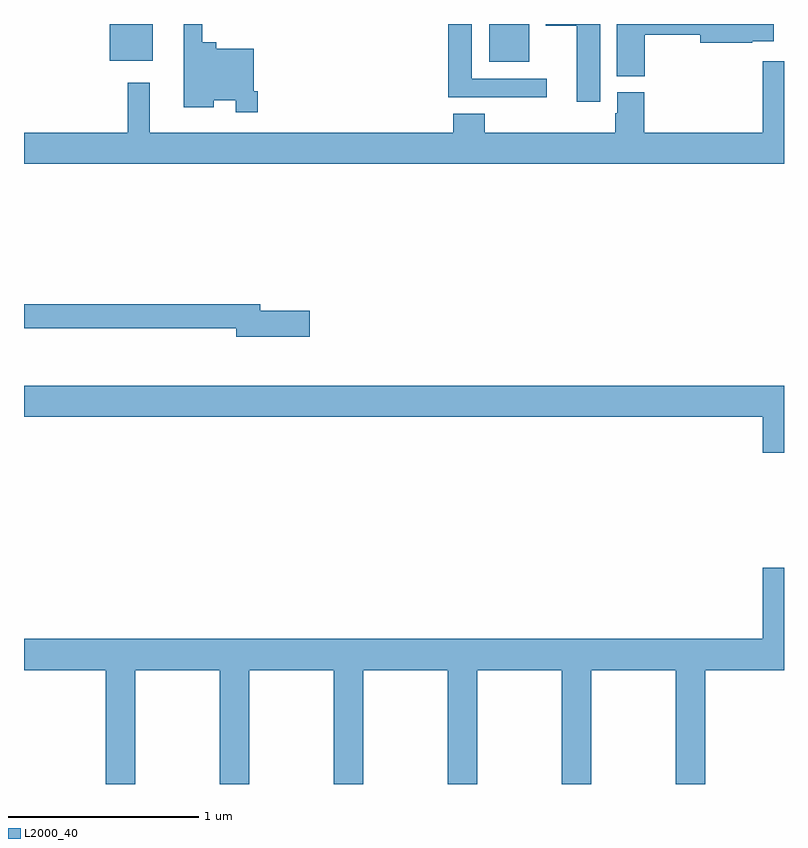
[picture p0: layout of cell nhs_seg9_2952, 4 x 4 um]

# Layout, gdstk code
import gdstk
lib = gdstk.Library(unit=1e-6, precision=1e-09)
def R(c, l, rs):  # rectangles x0, y0, x1, y1
    for r in rs: c.add(gdstk.rectangle(r[:2], r[2:], *l))
def P(c, l, *ps):  # polygons
    for p in ps: c.add(gdstk.Polygon(p, *l))
L2000_40 = (2000, 40)

nhs_seg9_2952 = lib.new_cell('nhs_seg9_2952')
R(nhs_seg9_2952, L2000_40, [(283.448,1186.301,283.66,1186.5), (281.45,1186.307,281.677,1186.5)])
P(nhs_seg9_2952, L2000_40, [(283.75,1186.212),(283.357,1186.212),(283.357,1186.5),(283.232,1186.5),(283.232,1186.115),(283.75,1186.115)],
  [(284.032,1186.5),(283.745,1186.5),(283.745,1186.49),(283.91,1186.49),(283.91,1186.092),(284.032,1186.092)],
  [(284.267,1186.444),(284.558,1186.444),(284.558,1186.402),(284.834,1186.402),(284.834,1186.409),(284.947,1186.409),(284.947,1186.5),(284.12,1186.5),(284.12,1186.225),(284.267,1186.225)],
  [(282.23,1186.147),(282.21,1186.147),(282.21,1186.369),(282.011,1186.369),(282.011,1186.405),(281.937,1186.405),(281.937,1186.5),(281.84,1186.5),(281.84,1186.061),(281.998,1186.061),(281.998,1186.1),(282.114,1186.1),(282.114,1186.035),(282.23,1186.035)],
  [(285,1186.303),(284.888,1186.303),(284.888,1185.928),(284.264,1185.928),(284.264,1186.14),(284.123,1186.14),(284.123,1186.029),(284.111,1186.029),(284.111,1185.928),(283.424,1185.928),(283.424,1186.027),(283.259,1186.027),(283.259,1185.928),(281.662,1185.928),(281.662,1186.192),(281.545,1186.192),(281.545,1185.928),(281,1185.928),(281,1185.764),(285,1185.764)],
  [(282.505,1184.99),(282.244,1184.99),(282.244,1185.026),(281,1185.026),(281,1184.898),(282.116,1184.898),(282.116,1184.855),(282.505,1184.855)],
  [(285,1184.596),(281,1184.596),(281,1184.432),(284.888,1184.432),(284.888,1184.244),(285,1184.244)],
  [(281.586,1183.1),(282.031,1183.1),(282.031,1182.5),(282.186,1182.5),(282.186,1183.1),(282.631,1183.1),(282.631,1182.5),(282.786,1182.5),(282.786,1183.1),(283.231,1183.1),(283.231,1182.5),(283.386,1182.5),(283.386,1183.1),(283.831,1183.1),(283.831,1182.5),(283.986,1182.5),(283.986,1183.1),(284.431,1183.1),(284.431,1182.5),(284.586,1182.5),(284.586,1183.1),(285,1183.1),(285,1183.639),(284.888,1183.639),(284.888,1183.264),(281,1183.264),(281,1183.1),(281.431,1183.1),(281.431,1182.5),(281.586,1182.5)])

lib.write_gds('nhs_seg9_2952.gds')
